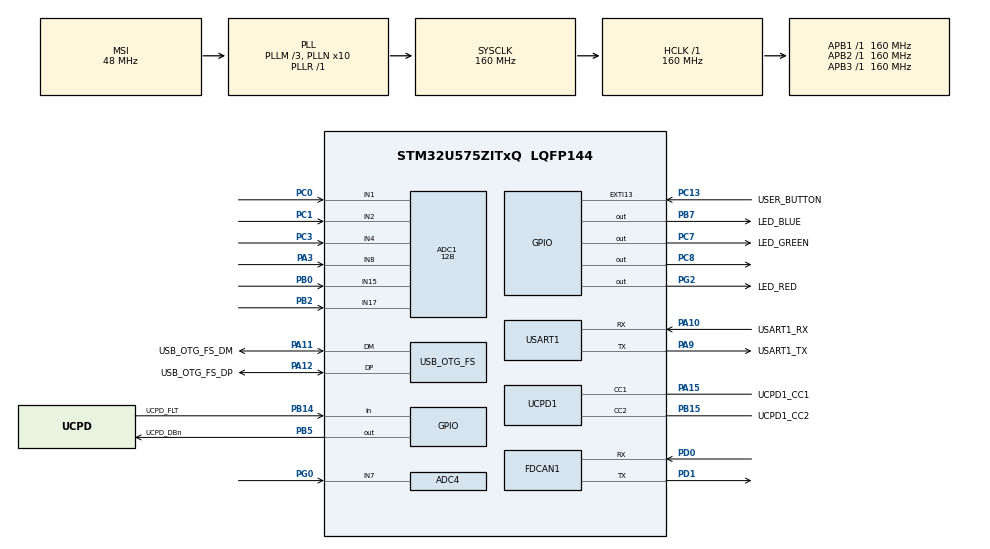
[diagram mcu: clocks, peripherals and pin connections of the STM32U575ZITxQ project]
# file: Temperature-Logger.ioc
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ADC1.EnableRegularConversion=DISABLE
ADC1.NbrOfConversion=1
ADC1.Resolution=ADC_RESOLUTION_12B
ADC1.master=1
ADC4.NbrOfConversion=1
ADC4.NbrOfConversionFlag=0
ADC4.SelectedChannel=ADC_CHANNEL_7
CORTEX_M33_NS.userName=CORTEX_M33
FDCAN1.AutoRetransmission=ENABLE
FDCAN1.CalculateBaudRateNominal=500000
FDCAN1.CalculateTimeBitNominal=2000
FDCAN1.CalculateTimeQuantumNominal=100.0
FDCAN1.DataPrescaler=1
FDCAN1.DataSyncJumpWidth=16
FDCAN1.DataTimeSeg1=23
FDCAN1.DataTimeSeg2=16
FDCAN1.ExtFiltersNbr=1
FDCAN1.FrameFormat=FDCAN_FRAME_FD_BRS
FDCAN1.NominalPrescaler=4
FDCAN1.NominalSyncJumpWidth=3
FDCAN1.NominalTimeSeg1=16
FDCAN1.NominalTimeSeg2=3
FDCAN1.StdFiltersNbr=1
Mcu.Family=STM32U5
Mcu.Name=STM32U575ZITxQ
Mcu.Package=LQFP144
NVIC.FDCAN1_IT0_IRQn=true\:0\:0\:false\:false\:true\:true\:true\:true
NVIC.OTG_FS_IRQn=true\:0\:0\:false\:false\:true\:true\:true\:true
NVIC.PriorityGroup=NVIC_PRIORITYGROUP_3
PA10.GPIO_Label=USART1_RX
PA10.GPIO_PuPd=GPIO_PULLDOWN
PA10.GPIO_Speed=GPIO_SPEED_FREQ_VERY_HIGH
PA10.Mode=Asynchronous
PA10.Signal=USART1_RX
PA11.GPIO_Label=USB_OTG_FS_DM
PA11.GPIO_Speed=GPIO_SPEED_FREQ_VERY_HIGH
PA11.Mode=Device_Only
PA11.Signal=USB_OTG_FS_DM
PA12.GPIO_Label=USB_OTG_FS_DP
PA12.GPIO_Speed=GPIO_SPEED_FREQ_VERY_HIGH
PA12.Mode=Device_Only
PA12.Signal=USB_OTG_FS_DP
PA13\ (JTMS/SWDIO).Mode=Trace_Asynchronous_SW
PA13\ (JTMS/SWDIO).Signal=DEBUG_JTMS-SWDIO
PA14\ (JTCK/SWCLK).Mode=Trace_Asynchronous_SW
PA14\ (JTCK/SWCLK).Signal=DEBUG_JTCK-SWCLK
PA15\ (JTDI).GPIO_Label=UCPD1_CC1
PA15\ (JTDI).Mode=Sink_AllSignals
PA15\ (JTDI).Signal=UCPD1_CC1
PA3.Mode=IN8-Single-Ended
PA3.Signal=ADC1_IN8
PA9.GPIO_Label=USART1_TX
PA9.GPIO_PuPd=GPIO_PULLDOWN
PA9.GPIO_Speed=GPIO_SPEED_FREQ_VERY_HIGH
PA9.Mode=Asynchronous
PA9.Signal=USART1_TX
PB0.Mode=IN15-Single-Ended
PB0.Signal=ADC1_IN15
PB14.GPIO_Label=UCPD_FLT
PB14.Signal=GPIO_Input
PB15.GPIO_Label=UCPD1_CC2
PB15.Mode=Sink_AllSignals
PB15.Signal=UCPD1_CC2
PB2.Mode=IN17-Single-Ended
PB2.Signal=ADC1_IN17
PB3\ (JTDO/TRACESWO).Mode=Trace_Asynchronous_SW
PB3\ (JTDO/TRACESWO).Signal=DEBUG_JTDO-SWO
PB5.GPIO_Label=UCPD_DBn
PB5.Signal=GPIO_Output
PB7.GPIO_Label=LED_BLUE
PB7.GPIO_ModeDefaultOutputPP=GPIO_MODE_OUTPUT_PP
PB7.GPIO_PuPd=GPIO_PULLUP
PB7.GPIO_Speed=GPIO_SPEED_FREQ_HIGH
PB7.Signal=GPIO_Output
PC0.Mode=IN1-Single-Ended
PC0.Signal=ADC1_IN1
PC1.Mode=IN2-Single-Ended
PC1.Signal=ADC1_IN2
PC13.GPIO_Label=USER_BUTTON
PC13.GPIO_ModeDefaultEXTI=GPIO_MODE_IT_FALLING
PC13.Signal=GPXTI13
PC14-OSC32_IN\ (PC14).Mode=LSE-External-Oscillator
PC14-OSC32_IN\ (PC14).Signal=RCC_OSC32_IN
PC15-OSC32_OUT\ (PC15).Mode=LSE-External-Oscillator
PC15-OSC32_OUT\ (PC15).Signal=RCC_OSC32_OUT
PC3.Mode=IN4-Single-Ended
PC3.Signal=ADC1_IN4
PC7.GPIO_Label=LED_GREEN
PC7.GPIO_PuPd=GPIO_PULLUP
PC7.GPIO_Speed=GPIO_SPEED_FREQ_HIGH
PC7.Signal=GPIO_Output
PC8.Signal=GPIO_Output
PD0.Mode=FDCAN_Activate
PD0.Signal=FDCAN1_RX
PD1.Mode=FDCAN_Activate
PD1.Signal=FDCAN1_TX
PG0.Mode=IN7
PG0.Signal=ADC4_IN7
PG2.GPIO_Label=LED_RED
PG2.GPIO_ModeDefaultOutputPP=GPIO_MODE_OUTPUT_PP
PG2.GPIO_PuPd=GPIO_PULLUP
PG2.GPIO_Speed=GPIO_SPEED_FREQ_HIGH
PG2.Signal=GPIO_Output
PWR.PowerMode=PWR_SMPS_SUPPLY
ProjectManager.HeapSize=0x200
ProjectManager.StackSize=0x400
ProjectManager.TargetToolchain=STM32CubeIDE
RCC.ADCFreq_Value=16000000
RCC.AHBFreq_Value=160000000
RCC.APB1Freq_Value=160000000
RCC.APB1TimFreq_Value=160000000
RCC.APB2Freq_Value=160000000
RCC.APB2TimFreq_Value=160000000
RCC.APB3Freq_Value=160000000
RCC.CortexFreq_Value=160000000
RCC.DACCLockSelectionVirtual=RCC_DAC1CLKSOURCE_LSI
RCC.EPOD_VALUE=48000000
RCC.HCLKFreq_Value=160000000
RCC.HSE_VALUE=16000000
RCC.HSI48_VALUE=48000000
RCC.HSI_VALUE=16000000
RCC.LSIDIV_VALUE=32000
RCC.MSIClockRange=RCC_MSIRANGE_0
RCC.MSI_VALUE=48000000
RCC.PLL1Q=4
RCC.PLL1R=1
RCC.PLLFRACN=0
RCC.PLLM=3
RCC.PLLN=10
RCC.SYSCLKFreq_VALUE=160000000
RCC.SYSCLKSource=RCC_SYSCLKSOURCE_PLLCLK
RCC.USBFreq_Value=48000000
RCC.VCOOutputFreq_Value=160000000
USART1.VirtualMode-Asynchronous=VM_ASYNC
USB_OTG_FS.VirtualMode=Device_Only
VP_ADC1_Vref_Input.Mode=IN-Vrefint
VP_ICACHE_VS_ENABLE_ICACHE_MEMORY.Mode=Memoryregions
VP_ICACHE_VS_ICACHE.Mode=DirectMappedCache
VP_LPBAMQUEUE_VS_QUEUE.Mode=QUEUEMODE
VP_LPBAM_VS_SIG1.Mode=SmartRun
VP_LPBAM_VS_SIG4.Mode=LPDMA1
VP_MEMORYMAP_VS_MEMORYMAP.Mode=CurAppReg
VP_PWR_VS_DBSignals.Mode=DisableDeadBatterySignals
VP_PWR_VS_LPOM.Mode=PowerOptimisation
VP_PWR_VS_SECSignals.Mode=Security/Privilege
VP_PWR_Vdda.Mode=isolationVdda
board=NUCLEO-U575ZI-Q

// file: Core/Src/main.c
/* USER CODE BEGIN Header */
/**
  ******************************************************************************
  * @file           : main.c
  * @brief          : Main program body
  ******************************************************************************
  * @attention
  *
  * Copyright (c) 2025 STMicroelectronics.
  * All rights reserved.
  *
  * This software is licensed under terms that can be found in the LICENSE file
  * in the root directory of this software component.
  * If no LICENSE file comes with this software, it is provided AS-IS.
  *
  ******************************************************************************
  */
/* USER CODE END Header */
#include "main.h"

/* USER CODE BEGIN Includes */
#include <stdio.h>
#include <math.h>
#include "can.h"
/* USER CODE END Includes */

/* USER CODE BEGIN PTD */
typedef struct {
    ADC_HandleTypeDef *hadc;
    uint32_t channel;
} NTC_Config;

typedef struct {
	const char*label;
	int is_temp;
} ADC_Channel_Info ;

/* USER CODE END PTD */

/* USER CODE BEGIN PD */

#define NUM_SENSORS 11
#define VREF 3.3
#define ADC_RESOLUTION 4095.0
#define R_FIXED 10000.0
#define BETA 3950.0
#define T0 298.15 // 25°C in Kelvin
#define R0 10000.0 // Resistance at 25°C
#define temp_threshold 55.0
#define voltage_threshold 2.5
#define CAN_TX_TIME 1000 //in milliseconds
/* USER CODE END PD */

ADC_HandleTypeDef hadc1;
ADC_HandleTypeDef hadc4;

FDCAN_HandleTypeDef hfdcan1;

UART_HandleTypeDef huart1;

PCD_HandleTypeDef hpcd_USB_OTG_FS;

/* USER CODE BEGIN PV */
NTC_Config ntc_sensors[NUM_SENSORS] = {
	{&hadc1, ADC_CHANNEL_8},   // PA_3 = ADC1_IN8 ADC Cell 2
	{&hadc1, ADC_CHANNEL_7},   // PA2 = ADC1_IN7 TEMP_PACK2
	{&hadc1, ADC_CHANNEL_4},  // PC3 = ADC1_IN4 Cell 3 ADC
	{&hadc1, ADC_CHANNEL_15},  // PB0 = ADC1_IN15 TEMP_PACKB/B
	{&hadc1, ADC_CHANNEL_2},  // PC1 = ADC1_IN2 TEMP_PACK 1 (T7 shares PC0 with T5, duplicate?)
	{&hadc1, ADC_CHANNEL_1},  //  PC0 = ADC1_IN1 ADC Cell 4
	{&hadc1, ADC_CHANNEL_17},  // PB_2 ADC1_IN17 ADC Cell 1
	{&hadc1, ADC_CHANNEL_6},   // PA1 = ADC1_IN2
	{&hadc1, ADC_CHANNEL_5},   // PA0 = ADC1_IN1
	{&hadc1, ADC_CHANNEL_16},   // PB1 = ADC1_IN16
	{&hadc4, ADC_CHANNEL_7},   // PG0 = ADC3_IN8 (ADC4)

};

ADC_Channel_Info channel_info[7] = {
    {"VC2_Cumulative",0},
    {"TempPack2",1},
    {"VC3_Cumulative",0},
    {"TempPack B/B",1},
    {"TempPack1",1},
    {"VC4_Cumulative",0},
    {"VC1_Cumulative",0},
};

/* USER CODE END PV */

void SystemClock_Config(void);
static void SystemPower_Config(void);
static void MX_GPIO_Init(void);
static void MX_ADC1_Init(void);
static void MX_ICACHE_Init(void);
static void MX_UCPD1_Init(void);
static void MX_USART1_UART_Init(void);
static void MX_USB_OTG_FS_PCD_Init(void);
static void MX_ADC4_Init(void);
static void MX_FDCAN1_Init(void);
/* USER CODE BEGIN PFP */
#ifdef __GNUC__
/* With GCC/RAISONANCE, small printf (option LD Linker->Libraries->Small printf
   set to 'Yes') calls __io_putchar() */
#define PUTCHAR_PROTOTYPE int __io_putchar(int ch)
#else
#define PUTCHAR_PROTOTYPE int fputc(int ch, FILE *f)
#endif /* __GNUC__ */
/* USER CODE END PFP */

/* USER CODE BEGIN 0 */

//float read_temperature(NTC_Config *sensor) {
//    ADC_ChannelConfTypeDef sConfig = {0};
//    sConfig.Channel = sensor->channel;
//    sConfig.Rank = ADC_REGULAR_RANK_1;
//    sConfig.SamplingTime = ADC_SAMPLETIME_5CYCLE;
//
//    HAL_ADC_ConfigChannel(sensor->hadc, &sConfig);
//    HAL_ADC_Start(sensor->hadc);
//    HAL_ADC_PollForConversion(sensor->hadc, HAL_MAX_DELAY);
//    uint32_t raw = HAL_ADC_GetValue(sensor->hadc);
//    HAL_ADC_Stop(sensor->hadc);
//
//    float v = (raw / ADC_RESOLUTION) * VREF;
//    float r_ntc = (v * R_FIXED) / (VREF - v);
//    float tempK = 1.0 / ((log(r_ntc / R0) / BETA) + (1.0 / T0));
//
//    printf("Raw: %lu, V: %.2fV, R_NTC: %.1fΩ, Temp: %.2f°C\r\n", raw, v, r_ntc, tempK);
//    return tempK - 273.15;
//}

static float ADC_Select_Channel(uint32_t channelNumber)
{
  ADC_ChannelConfTypeDef sConfig = {0};
  uint32_t raw;

  /**>RRE Configure ADC1 Channel */
  sConfig.Channel = (uint32_t)ntc_sensors[channelNumber - 1].channel;
  sConfig.Rank = ADC_REGULAR_RANK_1;
  sConfig.SamplingTime = ADC_SAMPLETIME_814CYCLES ;
  sConfig.SingleDiff = ADC_SINGLE_ENDED;
  sConfig.OffsetNumber = ADC_OFFSET_NONE;
  sConfig.Offset = 0;
  if (HAL_ADC_ConfigChannel(ntc_sensors[channelNumber - 1].hadc, &sConfig) != HAL_OK)
  {
    Error_Handler();
  }

  /**>RRE Perform Conversion */
  HAL_ADC_Start(ntc_sensors[channelNumber - 1].hadc);
  HAL_ADC_PollForConversion(ntc_sensors[channelNumber - 1].hadc, 1000);
  raw = HAL_ADC_GetValue(ntc_sensors[channelNumber - 1].hadc);
  HAL_ADC_Stop(ntc_sensors[channelNumber - 1].hadc);

      float v = (raw / ADC_RESOLUTION) * VREF;
      float r_ntc = (v * R_FIXED) / (VREF - v);
      float tempK = 1.0 / ((log(r_ntc / R0) / BETA) + (1.0 / T0));

      //printf("Raw: %lu, V: %.2fV, R_NTC: %.1fΩ, Temp: %.2f°C\r\n", raw, v, r_ntc, tempK);
      //return tempK - 273.15;
      if ((channelNumber == 2)||(channelNumber == 4)||(channelNumber == 5)) return tempK - 273.15; //2 and 4 are temp values not adc values
      else return v;

  //return tmp;
}

void HAL_FDCAN_TxBufferCompleteCallback(FDCAN_HandleTypeDef *hfdcan, uint32_t BufferIndexes)
{
    printf("Tx buffer complete. BufferIndexes: 0x%lX\r\n", BufferIndexes);
}

/* USER CODE END 0 */

int main(void)
{

  /* MCU Configuration--------------------------------------------------------*/

  /* Reset of all peripherals, Initializes the Flash interface and the Systick. */
  HAL_Init();

  /* Configure the System Power */
  SystemPower_Config();

  /* Configure the system clock */
  SystemClock_Config();

  /* Initialize all configured peripherals */
  MX_GPIO_Init();
  MX_ADC1_Init();
  MX_ICACHE_Init();
  MX_UCPD1_Init();
  MX_USART1_UART_Init();
  MX_USB_OTG_FS_PCD_Init();
  MX_ADC4_Init();
  MX_FDCAN1_Init();
  /* USER CODE BEGIN 2 */
  CAN_Init(&hfdcan1);

  	//Adding CAN Filter
  	FDCAN_FilterTypeDef sFilterConfig = {0};
  	sFilterConfig.IdType = FDCAN_STANDARD_ID;
  	sFilterConfig.FilterIndex = 0;
  	sFilterConfig.FilterType = FDCAN_FILTER_MASK;

  	sFilterConfig.FilterConfig = FDCAN_FILTER_TO_RXFIFO0;
  	sFilterConfig.FilterID1 = 0x000;
  	sFilterConfig.FilterID2 = 0x000; // Accept all

  	if (HAL_FDCAN_ConfigFilter(&hfdcan1, &sFilterConfig) != HAL_OK) {
  	    Error_Handler();
  	}

  	sFilterConfig.FilterConfig = FDCAN_FILTER_TO_RXFIFO1;
  	sFilterConfig.FilterID1 = 0x1111111;
  	sFilterConfig.FilterID2 = 0x2222222;

  	//FilterConfig.FilterID2 = 0x7FF; ????

  	  /* Configure global filter:
  	     Filter all remote frames with STD and EXT ID
  	     Reject non matching frames with STD ID and EXT ID */

  	//set an interrupt when a message is sent
  	  if (HAL_FDCAN_ActivateNotification(&hfdcan1, FDCAN_IT_RX_FIFO0_NEW_MESSAGE, 0) != HAL_OK)
  	  {
  	    Error_Handler();
  	  }

  	  if (HAL_FDCAN_ActivateNotification(&hfdcan1, FDCAN_IT_RX_FIFO1_NEW_MESSAGE, 0) != HAL_OK)
  	  {
  	    Error_Handler();
  	  }

      //this has to be set to 64
  	CAN_SetRxBufferSize(64,64);
  	HAL_FDCAN_Start(&hfdcan1);

  	int count = 0;

  	float adc_readings[7] = {0}; //store all adc readings here
  	float vc[4] = {0};
  	int vc_index=0 ;
  	uint16_t individual_voltages[4] = {0};
  	int temp_back = 1 ; //flag to break the infinite loop in case we are back on
  	int voltage_back = 1; //flag to break the infinite loop in case we are back on

  	float cell_voltage[4] = {0} ;

  	/* Transmitting board, comment out on receving board */

  //  HAL_Delay(1000);
  //
  //  ADC_ChannelConfTypeDef sConfig = {0};
  //  sConfig.Channel = ADC_CHANNEL_VREFINT;
  //  sConfig.Rank = ADC_REGULAR_RANK_1;
  //  sConfig.SamplingTime = ADC_SAMPLETIME_5CYCLE;
  //  HAL_ADC_ConfigChannel(&hadc1, &sConfig);
  //
  //  HAL_ADC_Start(&hadc1);
  //  HAL_ADC_PollForConversion(&hadc1, HAL_MAX_DELAY);
  //  uint32_t raw = HAL_ADC_GetValue(&hadc1);
  //  HAL_ADC_Stop(&hadc1);
  //
  //  float vref_measured = 1.21 * 4095.0f / raw;
  //  printf("ADC thinks VREF is: %.2fV\r\n", vref_measured);
  /* USER CODE END 2 */

  /* Infinite loop */
  while (1)
  {

    /* USER CODE BEGIN 3 */

	  vc_index = 0; // reset the value of the index

	  HAL_Delay(100);//0.1 SECONDS AS OF NOW

	  if (restart_requested) {
		  HAL_GPIO_WritePin(GPIOC, GPIO_PIN_8, GPIO_PIN_SET); //turn pin off (inverted logic)
		  printf("PC_8 Pulled Low\r\n");
	      for (int sec = 20; sec > 0; sec--) {
	          printf("Restarting in %d seconds...\r\n", sec);
	          HAL_Delay(1000);
	      }

	      HAL_GPIO_WritePin(GPIOC, GPIO_PIN_8, GPIO_PIN_RESET); //turn pin back on (inverted logic)
	      printf("PC_8 Pulled High\r\n");

	      restart_requested = 0;
	  }

	  //comment out the transmition to figure out how to recieve

	  uint8_t TxData1[16]; //the array that we use to send CAN
	  int byte_index = 0;

	  for(int i = 1; i <= 7; i++){
		  float adc = ADC_Select_Channel(i);
		  ADC_Channel_Info info = channel_info[i-1];
		  adc_readings[i-1] = adc; //store the adc value

		  int16_t encoded_val;  // Declare here so it's accessible below

		    if (info.is_temp) {
		    	 encoded_val = (int16_t)(adc * 100);  //to get rid of the decimal places (this gives us 4 hex digits)
		        if (adc >= temp_threshold ) {
		            printf("%s temperature too high! %.2f°C CANT: %d CANT: %X \r\n", info.label, adc ,encoded_val , encoded_val);
		            // toggle pin PC_8 it shuts off the entire system
		           HAL_GPIO_WritePin(GPIOC, GPIO_PIN_8, GPIO_PIN_SET); //PC_8 is the boot pin
		           temp_back = 0;

		           while (temp_back == 0 ) {

		        	   for (int y=20 ; y > 0 ; y-- ) {

		        	  		printf("checking the temp in %d seconds" , y);
		        	  		HAL_Delay(1000);

		        	  		           	 }

		        	   //read the pin again
		        	  adc = ADC_Select_Channel(i);
		        	  ADC_Channel_Info info = channel_info[i-1];
		        	  adc_readings[i-1] = adc; //store the adc value

		        	  if (adc <= temp_threshold ) {

		        	  		temp_back = 1; //break the loop and continue if we are back on
		        	  		printf("%s is below threshold \r\n", info.label);
		        	  		HAL_GPIO_WritePin(GPIOC, GPIO_PIN_8, GPIO_PIN_RESET); //PC_8 power back on

		        	  }

		           }

		        } else {
		            printf("%s: %.2f°C CANT: %d \r\n", info.label, adc , encoded_val );
		        }
		    } else {
		    	 encoded_val = (int16_t)(adc*1000*5);  // multiplying the value by 10000 to get 4 hex digits its cleaner
		        if (adc*5 <= voltage_threshold ) {
		            printf("%s below the recommended range! %.2f CANV: %d CANV: %X \r\n", info.label , 5*adc, encoded_val, encoded_val);
		            // toggle pin PC_8 it shuts off the entire system
		            //HAL_GPIO_WritePin(GPIOC, GPIO_PIN_8, GPIO_PIN_SET); //PC_8 is the boot pin
		            /*
		            voltage_back = 0;

		            // wait 20 seconds and enter an infinite loop of saying the batteries are under the
		            //operating voltage and check if you are back on

		            while (voltage_back == 0) {

		            for (int k =20 ; k > 0 ; k--)
		            {
		            	printf("checking status of %s in %d seconds again\r\n",info.label, k );
		            	HAL_Delay(1000); //wait

		            }

		            //read the pin again
		             adc = ADC_Select_Channel(i);
		            		  ADC_Channel_Info info = channel_info[i-1];
		            		  adc_readings[i-1] = adc; //store the adc value

		            	if (adc*5 >= voltage_threshold ) {

		            		voltage_back = 1; //break the loop and continue if we are back on
		            		printf("%s is back on\r\n", info.label);
		            		HAL_GPIO_WritePin(GPIOC, GPIO_PIN_8, GPIO_PIN_RESET); //PC_8 power back on
		            	}

		            }
						*/

		        }

		        else {
		            printf("%s: %.2fV CANV: %d CANV: %X\r\n", info.label, 5*adc ,encoded_val, encoded_val);
		        }
		    }

		    // Build vc[] array only for your voltage channels (1,3,6,7)
		           if ((i == 1) || (i == 3) || (i == 6) || (i == 7)) {
		               vc[vc_index++] = adc * 5;
		           }

		           // When you reach the last channel, compute individual voltages and print
		           if (i == 7) {
		               for (int j = 0; j < 4; j++) {
		                   printf("%.2f ", vc[j]);
		               }
		               printf("\r\n");

		               cell_voltage[1] = vc[0] - vc[3]; //cell 2
		               cell_voltage[2] = vc[1] - vc[0]; //cell 3
		               cell_voltage[3] = vc[2] - vc[1]; //cell 4
		               cell_voltage[0] = vc[3]; //cell 1

		               individual_voltages[0] = (vc[0] - vc[3]) * 1000;
		               individual_voltages[1] = (vc[1] - vc[0]) * 1000;
		               individual_voltages[2] = (vc[2] - vc[1]) * 1000;
		               individual_voltages[3] = (vc[3]) * 1000;

		               printf ("Cell1:%0.2f Cell2:%0.2f Cell3:%0.2f Cell4:%0.2f \r\n", cell_voltage[0] , cell_voltage[1] , cell_voltage[2] , cell_voltage[3] );

		               for (int k = 0; k < 4; k++) {

		            	   if (cell_voltage[k] <= voltage_threshold ) {
		   		            // toggle pin PC_8 it shuts off the entire system
		            		printf("Cell %d voltage is below threshold %0.2f \r\n" , (k+1) , cell_voltage[k]);
		   		            HAL_GPIO_WritePin(GPIOC, GPIO_PIN_8, GPIO_PIN_SET); //PC_8 is the boot pin
		   		            voltage_back = 0;

		   		            // wait 20 seconds and enter an infinite loop of saying the batteries are under the
		   		            //operating voltage and check if you are back on

		            	   }

		            	   while(voltage_back == 0) {

		            	       // Wait 20 seconds
		            	       for (int o = 20; o > 0; o--) {
		            	           printf("checking status of cell%d in %d seconds again\r\n", k+1 , o);
		            	           HAL_Delay(1000);
		            	       }

		            	       vc_index = 0; // reset before refilling

		            	       // Re-read all 4 voltage channels: i = 1, 3, 6, 7
		            	       int voltage_channels[] = {1, 3, 6, 7};
		            	       for (int ch = 0; ch < 4; ch++) {
		            	           float refreshed_adc = ADC_Select_Channel(voltage_channels[ch]);
		            	           vc[vc_index++] = refreshed_adc * 5;
		            	       }

		            	       // Recompute cell voltages
		            	       cell_voltage[1] = vc[0] - vc[3]; //cell 2
		            	       cell_voltage[2] = vc[1] - vc[0]; //cell 3
		            	       cell_voltage[3] = vc[2] - vc[1]; //cell 4
		            	       cell_voltage[0] = vc[3];         //cell 1

		            	       // Update individual voltages
		            	       individual_voltages[0] = (vc[0] - vc[3]) * 1000;
		            	       individual_voltages[1] = (vc[1] - vc[0]) * 1000;
		            	       individual_voltages[2] = (vc[2] - vc[1]) * 1000;
		            	       individual_voltages[3] = vc[3] * 1000;

		            	       // Re-check threshold for that specific cell
		            	       if (cell_voltage[k] >= voltage_threshold) {
		            	           voltage_back = 1;
		            	           HAL_GPIO_WritePin(GPIOC, GPIO_PIN_8, GPIO_PIN_RESET); //turn pin back on
		            	           printf("Cell %d is back above threshold: %.2f\r\n", k+1, cell_voltage[k]);
		            	       }

		            	   }

		            	   for (int z=0 ; z<4 ; z++) {

		            		   printf("%f ", cell_voltage[z]);

		            	   }

		            	   printf("\r\n");

		               } //for loop end

		           }
	  }

		       // Now build your TxData1 using temp_values and individual_voltages correctly

		       int volt_index = 0;

		       for (int i = 1; i <= 7; i++) {
		           int16_t encoded_val;

		           if (channel_info[i-1].is_temp) {
		               encoded_val = (int16_t)(adc_readings[i-1] * 100);
		           } else {
		               encoded_val = individual_voltages[volt_index++];
		           }

		           // Pack the encoded_val into TxData1 (low byte first)
		           TxData1[byte_index++] = encoded_val & 0xFF;
		           TxData1[byte_index++] = (encoded_val >> 8) & 0xFF;
		       }

		       // Add two extra zero bytes
		       TxData1[byte_index++] = 0x00;
		       TxData1[byte_index++] = 0x00;

		       // Print TxData1 array exactly as you had it
		       printf("\nTxData1 Array:\r\n");
		       for (int i = 0; i < 16; i++) {
		           printf("%X ", TxData1[i]);
		       }
		       printf("\r\n");

		  ///CAN_Transmit(uint32_t Identifier, uint32_t IdType, uint32_t DataLength, uint8_t* DataBuffer, FDCAN_HandleTypeDef *hfdcan1);

	 if (CAN_Transmit(0x206, FDCAN_STANDARD_ID, FDCAN_DLC_BYTES_16, TxData1, &hfdcan1) != HAL_OK)
	 {
		 printf("HAL ERROR CODE: %lu\r\n", HAL_FDCAN_GetError(&hfdcan1));
		 printf("TS: %lu\r\n", HAL_GetTick());
		 printf("count: %d \r\n",count);
		 //Error_Handler();
	 	 }

	 count++;
	 printf("count: %d \r\n",count);

  } //this is the end of the while loop
  /* USER CODE END 3 */
}

void SystemClock_Config(void)
{
  RCC_OscInitTypeDef RCC_OscInitStruct = {0};
  RCC_ClkInitTypeDef RCC_ClkInitStruct = {0};

  /** Configure the main internal regulator output voltage
  */
  if (HAL_PWREx_ControlVoltageScaling(PWR_REGULATOR_VOLTAGE_SCALE1) != HAL_OK)
  {
    Error_Handler();
  }

  /** Initializes the CPU, AHB and APB buses clocks
  */
  RCC_OscInitStruct.OscillatorType = RCC_OSCILLATORTYPE_HSI48|RCC_OSCILLATORTYPE_HSI
                              |RCC_OSCILLATORTYPE_MSI;
  RCC_OscInitStruct.HSIState = RCC_HSI_ON;
  RCC_OscInitStruct.HSI48State = RCC_HSI48_ON;
  RCC_OscInitStruct.HSICalibrationValue = RCC_HSICALIBRATION_DEFAULT;
  RCC_OscInitStruct.MSIState = RCC_MSI_ON;
  RCC_OscInitStruct.MSICalibrationValue = RCC_MSICALIBRATION_DEFAULT;
  RCC_OscInitStruct.MSIClockRange = RCC_MSIRANGE_0;
  RCC_OscInitStruct.PLL.PLLState = RCC_PLL_ON;
  RCC_OscInitStruct.PLL.PLLSource = RCC_PLLSOURCE_MSI;
  RCC_OscInitStruct.PLL.PLLMBOOST = RCC_PLLMBOOST_DIV4;
  RCC_OscInitStruct.PLL.PLLM = 3;
  RCC_OscInitStruct.PLL.PLLN = 10;
  RCC_OscInitStruct.PLL.PLLP = 2;
  RCC_OscInitStruct.PLL.PLLQ = 4;
  RCC_OscInitStruct.PLL.PLLR = 1;
  RCC_OscInitStruct.PLL.PLLRGE = RCC_PLLVCIRANGE_1;
  RCC_OscInitStruct.PLL.PLLFRACN = 0;
  if (HAL_RCC_OscConfig(&RCC_OscInitStruct) != HAL_OK)
  {
    Error_Handler();
  }

  /** Initializes the CPU, AHB and APB buses clocks
  */
  RCC_ClkInitStruct.ClockType = RCC_CLOCKTYPE_HCLK|RCC_CLOCKTYPE_SYSCLK
                              |RCC_CLOCKTYPE_PCLK1|RCC_CLOCKTYPE_PCLK2
                              |RCC_CLOCKTYPE_PCLK3;
  RCC_ClkInitStruct.SYSCLKSource = RCC_SYSCLKSOURCE_PLLCLK;
  RCC_ClkInitStruct.AHBCLKDivider = RCC_SYSCLK_DIV1;
  RCC_ClkInitStruct.APB1CLKDivider = RCC_HCLK_DIV1;
  RCC_ClkInitStruct.APB2CLKDivider = RCC_HCLK_DIV1;
  RCC_ClkInitStruct.APB3CLKDivider = RCC_HCLK_DIV1;

  if (HAL_RCC_ClockConfig(&RCC_ClkInitStruct, FLASH_LATENCY_4) != HAL_OK)
  {
    Error_Handler();
  }
}

/**
  * @brief Power Configuration
  * @retval None
  */
static void SystemPower_Config(void)
{
  HAL_PWREx_EnableVddIO2();

  /*
   * Switch to SMPS regulator instead of LDO
   */
  if (HAL_PWREx_ConfigSupply(PWR_SMPS_SUPPLY) != HAL_OK)
  {
    Error_Handler();
  }
}

static void MX_ADC1_Init(void)
{

  /** Common config
  */
  hadc1.Instance = ADC1;
  hadc1.Init.ClockPrescaler = ADC_CLOCK_ASYNC_DIV1;
  hadc1.Init.Resolution = ADC_RESOLUTION_12B;
  hadc1.Init.GainCompensation = 0;
  hadc1.Init.ScanConvMode = ADC_SCAN_DISABLE;
  hadc1.Init.EOCSelection = ADC_EOC_SINGLE_CONV;
  hadc1.Init.LowPowerAutoWait = DISABLE;
  hadc1.Init.ContinuousConvMode = DISABLE;
  hadc1.Init.NbrOfConversion = 1;
  hadc1.Init.DiscontinuousConvMode = DISABLE;
  hadc1.Init.DMAContinuousRequests = DISABLE;
  hadc1.Init.TriggerFrequencyMode = ADC_TRIGGER_FREQ_HIGH;
  hadc1.Init.Overrun = ADC_OVR_DATA_PRESERVED;
  hadc1.Init.LeftBitShift = ADC_LEFTBITSHIFT_NONE;
  hadc1.Init.ConversionDataManagement = ADC_CONVERSIONDATA_DR;
  hadc1.Init.OversamplingMode = DISABLE;
  if (HAL_ADC_Init(&hadc1) != HAL_OK)
  {
    Error_Handler();
  }

}

static void MX_ADC4_Init(void)
{

  ADC_ChannelConfTypeDef sConfig = {0};

  /** Common config
  */
  hadc4.Instance = ADC4;
  hadc4.Init.ClockPrescaler = ADC_CLOCK_ASYNC_DIV1;
  hadc4.Init.Resolution = ADC_RESOLUTION_12B;
  hadc4.Init.DataAlign = ADC_DATAALIGN_RIGHT;
  hadc4.Init.ScanConvMode = ADC_SCAN_DIRECTION_FORWARD;
  hadc4.Init.EOCSelection = ADC_EOC_SINGLE_CONV;
  hadc4.Init.LowPowerAutoPowerOff = ADC_LOW_POWER_NONE;
  hadc4.Init.LowPowerAutoWait = DISABLE;
  hadc4.Init.ContinuousConvMode = DISABLE;
  hadc4.Init.NbrOfConversion = 1;
  hadc4.Init.DiscontinuousConvMode = DISABLE;
  hadc4.Init.ExternalTrigConv = ADC_SOFTWARE_START;
  hadc4.Init.ExternalTrigConvEdge = ADC_EXTERNALTRIGCONVEDGE_NONE;
  hadc4.Init.DMAContinuousRequests = DISABLE;
  hadc4.Init.TriggerFrequencyMode = ADC_TRIGGER_FREQ_LOW;
  hadc4.Init.Overrun = ADC_OVR_DATA_PRESERVED;
  hadc4.Init.SamplingTimeCommon1 = ADC4_SAMPLETIME_1CYCLE_5;
  hadc4.Init.SamplingTimeCommon2 = ADC4_SAMPLETIME_1CYCLE_5;
  hadc4.Init.OversamplingMode = DISABLE;
  if (HAL_ADC_Init(&hadc4) != HAL_OK)
  {
    Error_Handler();
  }

  /** Configure Regular Channel
  */
  sConfig.Channel = ADC_CHANNEL_7;
  sConfig.Rank = ADC4_RANK_CHANNEL_NUMBER;
  sConfig.SamplingTime = ADC4_SAMPLINGTIME_COMMON_1;
  sConfig.OffsetNumber = ADC_OFFSET_NONE;
  sConfig.Offset = 0;
  if (HAL_ADC_ConfigChannel(&hadc4, &sConfig) != HAL_OK)
  {
    Error_Handler();
  }

}

static void MX_FDCAN1_Init(void)
{

  hfdcan1.Instance = FDCAN1;
  hfdcan1.Init.ClockDivider = FDCAN_CLOCK_DIV1;
  hfdcan1.Init.FrameFormat = FDCAN_FRAME_FD_BRS;
  hfdcan1.Init.Mode = FDCAN_MODE_NORMAL;
  hfdcan1.Init.AutoRetransmission = ENABLE;
  hfdcan1.Init.TransmitPause = DISABLE;
  hfdcan1.Init.ProtocolException = DISABLE;
  hfdcan1.Init.NominalPrescaler = 4;
  hfdcan1.Init.NominalSyncJumpWidth = 3;
  hfdcan1.Init.NominalTimeSeg1 = 16;
  hfdcan1.Init.NominalTimeSeg2 = 3;
  hfdcan1.Init.DataPrescaler = 1;
  hfdcan1.Init.DataSyncJumpWidth = 16;
  hfdcan1.Init.DataTimeSeg1 = 23;
  hfdcan1.Init.DataTimeSeg2 = 16;
  hfdcan1.Init.StdFiltersNbr = 1;
  hfdcan1.Init.ExtFiltersNbr = 1;
  hfdcan1.Init.TxFifoQueueMode = FDCAN_TX_FIFO_OPERATION;
  if (HAL_FDCAN_Init(&hfdcan1) != HAL_OK)
  {
    Error_Handler();
  }

}

static void MX_ICACHE_Init(void)
{

  /** Enable instruction cache in 1-way (direct mapped cache)
  */
  if (HAL_ICACHE_ConfigAssociativityMode(ICACHE_1WAY) != HAL_OK)
  {
    Error_Handler();
  }
  if (HAL_ICACHE_Enable() != HAL_OK)
  {
    Error_Handler();
  }

}

static void MX_UCPD1_Init(void)
{

  LL_GPIO_InitTypeDef GPIO_InitStruct = {0};

  /* Peripheral clock enable */
  LL_APB1_GRP2_EnableClock(LL_APB1_GRP2_PERIPH_UCPD1);

  LL_AHB2_GRP1_EnableClock(LL_AHB2_GRP1_PERIPH_GPIOB);
  LL_AHB2_GRP1_EnableClock(LL_AHB2_GRP1_PERIPH_GPIOA);
  /**UCPD1 GPIO Configuration
  PB15   ------> UCPD1_CC2
  PA15 (JTDI)   ------> UCPD1_CC1
  */
  GPIO_InitStruct.Pin = LL_GPIO_PIN_15;
  GPIO_InitStruct.Mode = LL_GPIO_MODE_ANALOG;
  GPIO_InitStruct.Pull = LL_GPIO_PULL_NO;
  LL_GPIO_Init(GPIOB, &GPIO_InitStruct);

  GPIO_InitStruct.Pin = LL_GPIO_PIN_15;
  GPIO_InitStruct.Mode = LL_GPIO_MODE_ANALOG;
  GPIO_InitStruct.Pull = LL_GPIO_PULL_NO;
  LL_GPIO_Init(GPIOA, &GPIO_InitStruct);

}

static void MX_USART1_UART_Init(void)
{

  huart1.Instance = USART1;
  huart1.Init.BaudRate = 115200;
  huart1.Init.WordLength = UART_WORDLENGTH_8B;
  huart1.Init.StopBits = UART_STOPBITS_1;
  huart1.Init.Parity = UART_PARITY_NONE;
  huart1.Init.Mode = UART_MODE_TX_RX;
  huart1.Init.HwFlowCtl = UART_HWCONTROL_NONE;
  huart1.Init.OverSampling = UART_OVERSAMPLING_16;
  huart1.Init.OneBitSampling = UART_ONE_BIT_SAMPLE_DISABLE;
  huart1.Init.ClockPrescaler = UART_PRESCALER_DIV1;
  huart1.AdvancedInit.AdvFeatureInit = UART_ADVFEATURE_NO_INIT;
  if (HAL_UART_Init(&huart1) != HAL_OK)
  {
    Error_Handler();
  }
  if (HAL_UARTEx_SetTxFifoThreshold(&huart1, UART_TXFIFO_THRESHOLD_1_8) != HAL_OK)
  {
    Error_Handler();
  }
  if (HAL_UARTEx_SetRxFifoThreshold(&huart1, UART_RXFIFO_THRESHOLD_1_8) != HAL_OK)
  {
    Error_Handler();
  }
  if (HAL_UARTEx_DisableFifoMode(&huart1) != HAL_OK)
  {
    Error_Handler();
  }

}

static void MX_USB_OTG_FS_PCD_Init(void)
{

  hpcd_USB_OTG_FS.Instance = USB_OTG_FS;
  hpcd_USB_OTG_FS.Init.dev_endpoints = 6;
  hpcd_USB_OTG_FS.Init.speed = PCD_SPEED_FULL;
  hpcd_USB_OTG_FS.Init.phy_itface = PCD_PHY_EMBEDDED;
  hpcd_USB_OTG_FS.Init.Sof_enable = DISABLE;
  hpcd_USB_OTG_FS.Init.low_power_enable = DISABLE;
  hpcd_USB_OTG_FS.Init.lpm_enable = DISABLE;
  hpcd_USB_OTG_FS.Init.battery_charging_enable = DISABLE;
  hpcd_USB_OTG_FS.Init.use_dedicated_ep1 = DISABLE;
  hpcd_USB_OTG_FS.Init.vbus_sensing_enable = DISABLE;
  hpcd_USB_OTG_FS.Init.dma_enable = DISABLE;
  if (HAL_PCD_Init(&hpcd_USB_OTG_FS) != HAL_OK)
  {
    Error_Handler();
  }

}

static void MX_GPIO_Init(void)
{
  GPIO_InitTypeDef GPIO_InitStruct = {0};

  /* GPIO Ports Clock Enable */
  __HAL_RCC_GPIOC_CLK_ENABLE();
  __HAL_RCC_GPIOA_CLK_ENABLE();
  __HAL_RCC_GPIOB_CLK_ENABLE();
  __HAL_RCC_GPIOG_CLK_ENABLE();
  __HAL_RCC_GPIOD_CLK_ENABLE();

  /*Configure GPIO pin Output Level */
  HAL_GPIO_WritePin(LED_RED_GPIO_Port, LED_RED_Pin, GPIO_PIN_RESET);

  /*Configure GPIO pin Output Level */
  HAL_GPIO_WritePin(GPIOC, LED_GREEN_Pin|GPIO_PIN_8, GPIO_PIN_RESET);

  /*Configure GPIO pin Output Level */
  HAL_GPIO_WritePin(GPIOB, UCPD_DBn_Pin|LED_BLUE_Pin, GPIO_PIN_RESET);

  /*Configure GPIO pin : USER_BUTTON_Pin */
  GPIO_InitStruct.Pin = USER_BUTTON_Pin;
  GPIO_InitStruct.Mode = GPIO_MODE_IT_FALLING;
  GPIO_InitStruct.Pull = GPIO_NOPULL;
  HAL_GPIO_Init(USER_BUTTON_GPIO_Port, &GPIO_InitStruct);

  /*Configure GPIO pin : UCPD_FLT_Pin */
  GPIO_InitStruct.Pin = UCPD_FLT_Pin;
  GPIO_InitStruct.Mode = GPIO_MODE_INPUT;
  GPIO_InitStruct.Pull = GPIO_NOPULL;
  HAL_GPIO_Init(UCPD_FLT_GPIO_Port, &GPIO_InitStruct);

  /*Configure GPIO pin : LED_RED_Pin */
  GPIO_InitStruct.Pin = LED_RED_Pin;
  GPIO_InitStruct.Mode = GPIO_MODE_OUTPUT_PP;
  GPIO_InitStruct.Pull = GPIO_PULLUP;
  GPIO_InitStruct.Speed = GPIO_SPEED_FREQ_HIGH;
  HAL_GPIO_Init(LED_RED_GPIO_Port, &GPIO_InitStruct);

  /*Configure GPIO pin : LED_GREEN_Pin */
  GPIO_InitStruct.Pin = LED_GREEN_Pin;
  GPIO_InitStruct.Mode = GPIO_MODE_OUTPUT_PP;
  GPIO_InitStruct.Pull = GPIO_PULLUP;
  GPIO_InitStruct.Speed = GPIO_SPEED_FREQ_HIGH;
  HAL_GPIO_Init(LED_GREEN_GPIO_Port, &GPIO_InitStruct);

  /*Configure GPIO pin : PC8 */
  GPIO_InitStruct.Pin = GPIO_PIN_8;
  GPIO_InitStruct.Mode = GPIO_MODE_OUTPUT_PP;
  GPIO_InitStruct.Pull = GPIO_NOPULL;
  GPIO_InitStruct.Speed = GPIO_SPEED_FREQ_LOW;
  HAL_GPIO_Init(GPIOC, &GPIO_InitStruct);

  /*Configure GPIO pin : UCPD_DBn_Pin */
  GPIO_InitStruct.Pin = UCPD_DBn_Pin;
  GPIO_InitStruct.Mode = GPIO_MODE_OUTPUT_PP;
  GPIO_InitStruct.Pull = GPIO_NOPULL;
  GPIO_InitStruct.Speed = GPIO_SPEED_FREQ_LOW;
  HAL_GPIO_Init(UCPD_DBn_GPIO_Port, &GPIO_InitStruct);

  /*Configure GPIO pin : LED_BLUE_Pin */
  GPIO_InitStruct.Pin = LED_BLUE_Pin;
  GPIO_InitStruct.Mode = GPIO_MODE_OUTPUT_PP;
  GPIO_InitStruct.Pull = GPIO_PULLUP;
  GPIO_InitStruct.Speed = GPIO_SPEED_FREQ_HIGH;
  HAL_GPIO_Init(LED_BLUE_GPIO_Port, &GPIO_InitStruct);

}

/* USER CODE BEGIN 4 */
PUTCHAR_PROTOTYPE
{
  /* Place your implementation of fputc here */
  /* e.g. write a character to the USART1 and Loop until the end of transmission */
  HAL_UART_Transmit(&huart1, (uint8_t *)&ch, 1, 0xFFFF);

  return ch;
}
/* USER CODE END 4 */

void Error_Handler(void)
{
  __disable_irq();
  while (1)
  {
  }
}
